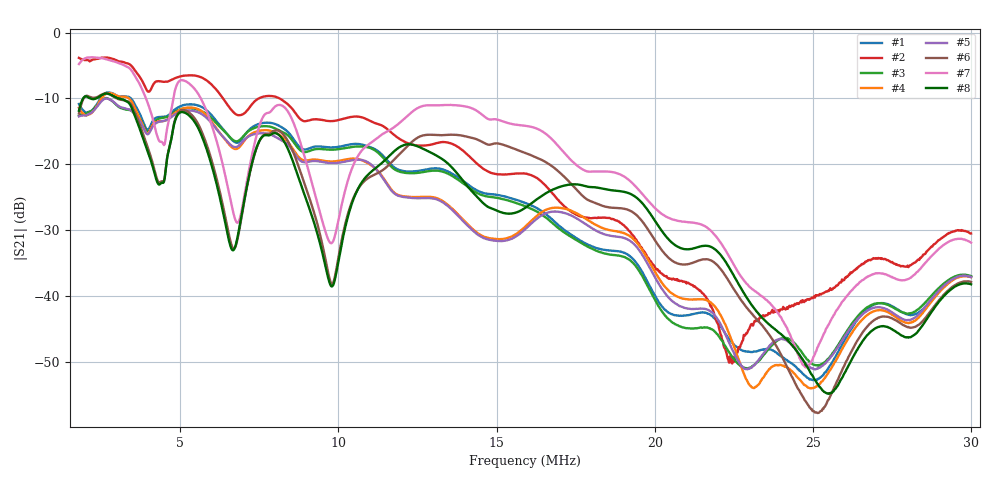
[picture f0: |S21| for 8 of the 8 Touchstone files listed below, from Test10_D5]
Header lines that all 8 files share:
!Agilent Technologies,E5061B,MY49101568,A.02.00
!Data & Calibration Information:
# Hz S dB R 50
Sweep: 1.8 MHz to 30 MHz
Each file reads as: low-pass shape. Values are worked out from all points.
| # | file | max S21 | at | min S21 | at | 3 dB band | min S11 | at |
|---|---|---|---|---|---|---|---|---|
| 1 | CASE2.S2P | -9.10 dB | 2.729 MHz | -52.8 dB | 25.09 MHz | 2.093 MHz-3.682 MHz | -43.7 dB | 12.97 MHz |
| 2 | CASE2_2.S2P | -3.79 dB | 2.68 MHz | -50.3 dB | 22.45 MHz | 1.8 MHz-3.706 MHz | -31.3 dB | 27.31 MHz |
| 3 | CASE3.S2P | -9.95 dB | 2.655 MHz | -51.0 dB | 22.91 MHz | 1.8 MHz-3.682 MHz | -42.1 dB | 2.729 MHz |
| 4 | CASE4.S2P | -9.21 dB | 2.729 MHz | -54.1 dB | 24.92 MHz | 2.215 MHz-3.633 MHz | -46.5 dB | 12.89 MHz |
| 5 | CASE5.S2P | -10.01 dB | 2.68 MHz | -51.2 dB | 22.94 MHz | 1.8 MHz-3.633 MHz | -42.4 dB | 12.89 MHz |
| 6 | CASE12.S2P | -9.25 dB | 2.655 MHz | -57.8 dB | 25.16 MHz | 1.824 MHz-3.559 MHz | -37.4 dB | 5.588 MHz |
| 7 | CASE12_2.S2P | -3.75 dB | 2.215 MHz | -50.9 dB | 24.77 MHz | 1.8 MHz-3.584 MHz | -37.4 dB | 19.03 MHz |
| 8 | CASE14.S2P | -9.26 dB | 2.655 MHz | -54.9 dB | 25.5 MHz | 1.8 MHz-3.535 MHz | -35.2 dB | 2.777 MHz |
